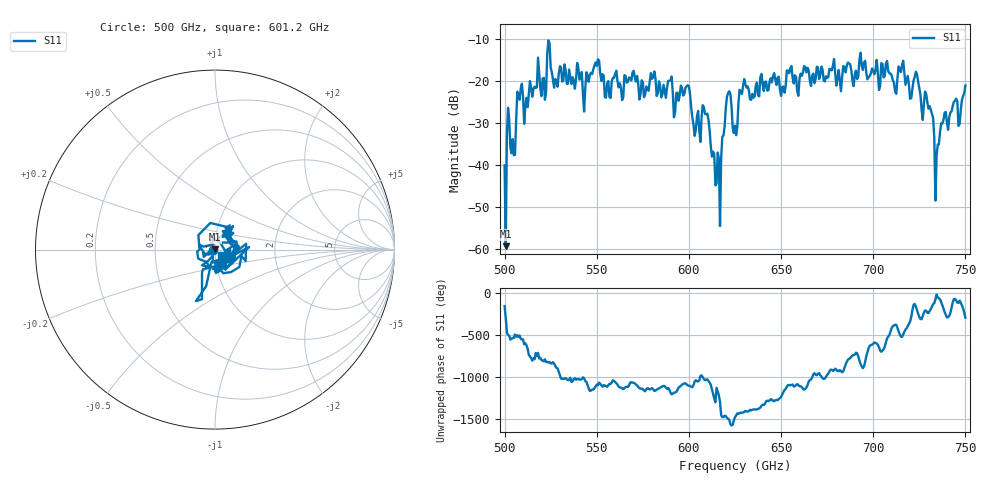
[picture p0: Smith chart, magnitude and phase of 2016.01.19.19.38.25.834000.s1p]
!Created with skrf (http://scikit-rf.org).
# GHz S RI R 50.0
!freq ReS11 ImS11
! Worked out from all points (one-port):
!   401 points, 500 GHz to 750 GHz, reference 50 ohm
!   lowest |S11| = -59.4 dB at 500.6 GHz (marker M1), VSWR 1.00, Z = 50.1 + j0.0884 ohm
!   |S11| at or under -10 dB: start of sweep to end of sweep
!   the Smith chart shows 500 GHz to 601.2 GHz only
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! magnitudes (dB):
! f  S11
! 500 GHz  -40.1
! 500.6 GHz  -59.4
! 502.5 GHz  -29.2
! 505 GHz  -37.7
! 508.1 GHz  -24.4
! 521.2 GHz  -19.2
! 524.4 GHz  -10.9
! 527.5 GHz  -19.5
! 531.2 GHz  -20.1
! 543.8 GHz  -21.8
! 550 GHz  -16.4
! 562.5 GHz  -20.5
! 580.6 GHz  -19.0
! 593.8 GHz  -22.7
! 599.4 GHz  -21.0
! 603.1 GHz  -33.0
! 608.8 GHz  -27.8
! 615.6 GHz  -37.0
! 621.2 GHz  -22.8
! 625 GHz  -30.6
! 630.6 GHz  -20.7
! 656.2 GHz  -19.2
! 687.5 GHz  -16.0
! 718.8 GHz  -18.7
! 729.4 GHz  -25.1
! 734.4 GHz  -37.7
! 738.1 GHz  -29.2
! 750 GHz  -21.0
